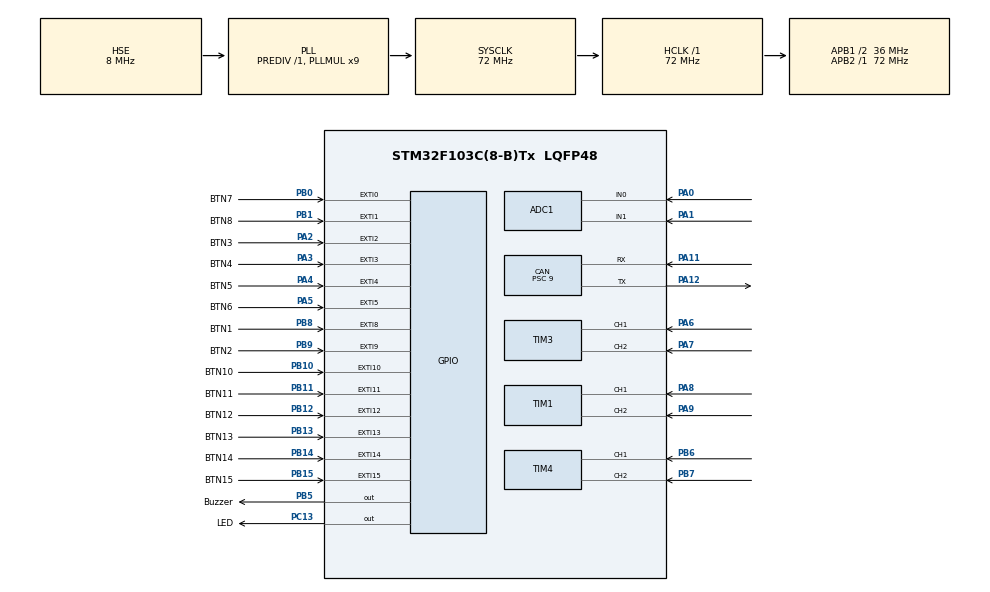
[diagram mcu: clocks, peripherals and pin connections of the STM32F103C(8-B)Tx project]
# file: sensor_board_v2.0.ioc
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ADC1.Channel-0\#ChannelRegularConversion=ADC_CHANNEL_0
ADC1.Channel-1\#ChannelRegularConversion=ADC_CHANNEL_1
ADC1.ContinuousConvMode=ENABLE
ADC1.NbrOfConversion=2
ADC1.NbrOfConversionFlag=1
ADC1.Rank-0\#ChannelRegularConversion=1
ADC1.Rank-1\#ChannelRegularConversion=2
ADC1.SamplingTime-0\#ChannelRegularConversion=ADC_SAMPLETIME_239CYCLES_5
ADC1.SamplingTime-1\#ChannelRegularConversion=ADC_SAMPLETIME_1CYCLE_5
ADC1.master=1
CAN.BS1=CAN_BS1_2TQ
CAN.CalculateBaudRate=1000000
CAN.CalculateTimeBit=1000
CAN.CalculateTimeQuantum=250.0
CAN.Prescaler=9
Dma.ADC1.0.Direction=DMA_PERIPH_TO_MEMORY
Dma.ADC1.0.Instance=DMA1_Channel1
Dma.ADC1.0.MemDataAlignment=DMA_MDATAALIGN_HALFWORD
Dma.ADC1.0.MemInc=DMA_MINC_ENABLE
Dma.ADC1.0.Mode=DMA_CIRCULAR
Dma.ADC1.0.PeriphDataAlignment=DMA_PDATAALIGN_HALFWORD
Dma.ADC1.0.PeriphInc=DMA_PINC_DISABLE
Dma.ADC1.0.Priority=DMA_PRIORITY_MEDIUM
Dma.Request0=ADC1
Mcu.Family=STM32F1
Mcu.Name=STM32F103C(8-B)Tx
Mcu.Package=LQFP48
NVIC.CAN1_RX1_IRQn=true\:0\:0\:false\:false\:true\:true\:true\:true
NVIC.DMA1_Channel1_IRQn=true\:0\:0\:false\:false\:true\:false\:true\:true
NVIC.EXTI0_IRQn=true\:0\:0\:false\:false\:true\:true\:true\:true
NVIC.EXTI15_10_IRQn=true\:0\:0\:false\:false\:true\:true\:true\:true
NVIC.EXTI1_IRQn=true\:0\:0\:false\:false\:true\:true\:true\:true
NVIC.EXTI2_IRQn=true\:0\:0\:false\:false\:true\:true\:true\:true
NVIC.EXTI3_IRQn=true\:0\:0\:false\:false\:true\:true\:true\:true
NVIC.EXTI4_IRQn=true\:0\:0\:false\:false\:true\:true\:true\:true
NVIC.EXTI9_5_IRQn=true\:0\:0\:false\:false\:true\:true\:true\:true
NVIC.PriorityGroup=NVIC_PRIORITYGROUP_4
PA0-WKUP.Signal=ADCx_IN0
PA1.Signal=ADCx_IN1
PA11.Mode=CAN_Activate
PA11.Signal=CAN_RX
PA12.Mode=CAN_Activate
PA12.Signal=CAN_TX
PA13.Mode=Serial_Wire
PA13.Signal=SYS_JTMS-SWDIO
PA14.Mode=Serial_Wire
PA14.Signal=SYS_JTCK-SWCLK
PA2.GPIO_Label=BTN3
PA2.GPIO_ModeDefaultEXTI=GPIO_MODE_IT_FALLING
PA2.Signal=GPXTI2
PA3.GPIO_Label=BTN4
PA3.GPIO_ModeDefaultEXTI=GPIO_MODE_IT_FALLING
PA3.GPIO_PuPd=GPIO_NOPULL
PA3.Signal=GPXTI3
PA4.GPIO_Label=BTN5
PA4.GPIO_ModeDefaultEXTI=GPIO_MODE_IT_RISING_FALLING
PA4.GPIO_PuPd=GPIO_NOPULL
PA4.Signal=GPXTI4
PA5.GPIO_Label=BTN6
PA5.GPIO_ModeDefaultEXTI=GPIO_MODE_IT_RISING_FALLING
PA5.GPIO_PuPd=GPIO_NOPULL
PA5.Signal=GPXTI5
PA6.Signal=S_TIM3_CH1
PA7.Signal=S_TIM3_CH2
PA8.Signal=S_TIM1_CH1
PA9.Signal=S_TIM1_CH2
PB0.GPIO_Label=BTN7
PB0.GPIO_ModeDefaultEXTI=GPIO_MODE_IT_RISING_FALLING
PB0.Signal=GPXTI0
PB1.GPIO_Label=BTN8
PB1.GPIO_ModeDefaultEXTI=GPIO_MODE_IT_RISING_FALLING
PB1.Signal=GPXTI1
PB10.GPIO_Label=BTN10
PB10.GPIO_ModeDefaultEXTI=GPIO_MODE_IT_RISING_FALLING
PB10.GPIO_PuPd=GPIO_NOPULL
PB10.Signal=GPXTI10
PB11.GPIO_Label=BTN11
PB11.GPIO_ModeDefaultEXTI=GPIO_MODE_IT_RISING_FALLING
PB11.GPIO_PuPd=GPIO_NOPULL
PB11.Signal=GPXTI11
PB12.GPIO_Label=BTN12
PB12.GPIO_ModeDefaultEXTI=GPIO_MODE_IT_RISING_FALLING
PB12.GPIO_PuPd=GPIO_NOPULL
PB12.Signal=GPXTI12
PB13.GPIO_Label=BTN13
PB13.GPIO_ModeDefaultEXTI=GPIO_MODE_IT_RISING_FALLING
PB13.GPIO_PuPd=GPIO_NOPULL
PB13.Signal=GPXTI13
PB14.GPIO_Label=BTN14
PB14.GPIO_ModeDefaultEXTI=GPIO_MODE_IT_RISING_FALLING
PB14.GPIO_PuPd=GPIO_NOPULL
PB14.Signal=GPXTI14
PB15.GPIO_Label=BTN15
PB15.GPIO_ModeDefaultEXTI=GPIO_MODE_IT_RISING_FALLING
PB15.GPIO_PuPd=GPIO_NOPULL
PB15.Signal=GPXTI15
PB5.GPIO_Label=Buzzer
PB5.Signal=GPIO_Output
PB6.Signal=S_TIM4_CH1
PB7.Signal=S_TIM4_CH2
PB8.GPIO_Label=BTN1
PB8.GPIO_ModeDefaultEXTI=GPIO_MODE_IT_FALLING
PB8.Signal=GPXTI8
PB9.GPIO_Label=BTN2
PB9.GPIO_ModeDefaultEXTI=GPIO_MODE_IT_FALLING
PB9.Signal=GPXTI9
PC13-TAMPER-RTC.GPIO_Label=LED
PC13-TAMPER-RTC.Signal=GPIO_Output
PD0-OSC_IN.Mode=HSE-External-Oscillator
PD0-OSC_IN.Signal=RCC_OSC_IN
PD1-OSC_OUT.Mode=HSE-External-Oscillator
PD1-OSC_OUT.Signal=RCC_OSC_OUT
ProjectManager.HeapSize=0x200
ProjectManager.StackSize=0x400
ProjectManager.TargetToolchain=STM32CubeIDE
RCC.ADCPresc=RCC_ADCPCLK2_DIV6
RCC.AHBFreq_Value=72000000
RCC.APB1CLKDivider=RCC_HCLK_DIV2
RCC.APB1Freq_Value=36000000
RCC.APB1TimFreq_Value=72000000
RCC.APB2Freq_Value=72000000
RCC.APB2TimFreq_Value=72000000
RCC.HCLKFreq_Value=72000000
RCC.PLLMUL=RCC_PLL_MUL9
RCC.PLLSourceVirtual=RCC_PLLSOURCE_HSE
RCC.SYSCLKFreq_VALUE=72000000
RCC.SYSCLKSource=RCC_SYSCLKSOURCE_PLLCLK
RCC.USBFreq_Value=72000000
SH.ADCx_IN0.0=ADC1_IN0,IN0
SH.ADCx_IN1.0=ADC1_IN1,IN1
SH.S_TIM1_CH1.0=TIM1_CH1,Encoder_Interface
SH.S_TIM1_CH2.0=TIM1_CH2,Encoder_Interface
SH.S_TIM3_CH1.0=TIM3_CH1,Encoder_Interface
SH.S_TIM3_CH2.0=TIM3_CH2,Encoder_Interface
SH.S_TIM4_CH1.0=TIM4_CH1,Encoder_Interface
SH.S_TIM4_CH2.0=TIM4_CH2,Encoder_Interface
TIM1.EncoderMode=TIM_ENCODERMODE_TI12
TIM1.IC1Filter=15
TIM1.IC2Filter=15
TIM3.EncoderMode=TIM_ENCODERMODE_TI12
TIM3.IC1Filter=15
TIM3.IC2Filter=15
TIM4.EncoderMode=TIM_ENCODERMODE_TI12
TIM4.IC1Filter=15
TIM4.IC2Filter=15
board=custom

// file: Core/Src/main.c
/* USER CODE BEGIN Header */
/**
  ******************************************************************************
  * @file           : main.c
  * @brief          : Main program body
  ******************************************************************************
  * @attention
  *
  * Copyright (c) 2023 STMicroelectronics.
  * All rights reserved.
  *
  * This software is licensed under terms that can be found in the LICENSE file
  * in the root directory of this software component.
  * If no LICENSE file comes with this software, it is provided AS-IS.
  *
  ******************************************************************************
  */
/* USER CODE END Header */
#include "main.h"
#include "adc.h"
#include "can.h"
#include "dma.h"
#include "tim.h"
#include "gpio.h"

/* USER CODE BEGIN PM */
#define true 1
#define false 0

uint16_t Enc_count[3];
uint8_t BTN;
uint8_t BTN2;
uint8_t old_BTN;
uint8_t old_BTN2;
uint8_t flag = 0;
uint8_t flag_exti = 0;
uint8_t cntt;

uint16_t AD_RES[2];
uint16_t pub_adc = 0;

uint16_t time_read;

uint8_t noise;

uint8_t buzzer;
/* USER CODE END PM */

/* USER CODE BEGIN PV */
CAN_RxHeaderTypeDef RxHeader;
uint8_t RxData[8];
CAN_TxHeaderTypeDef TxHeader;
CAN_TxHeaderTypeDef TxHeader2;
uint8_t TxData[8];
uint8_t TxData2[2];
uint32_t TxMailbox;

float map(float Input, float Min_Input, float Max_Input, float Min_Output, float Max_Output)
{

	return (float)((Input - Min_Input) * (Max_Output - Min_Output) / (Max_Input - Min_Input) + Min_Output);
}

void HAL_CAN_RxFifo1MsgPendingCallback(CAN_HandleTypeDef *hcan)
{
	HAL_CAN_GetRxMessage(hcan, CAN_RX_FIFO1, &RxHeader, RxData);
	cntt++;
	while (cntt - 100 > 0)
	{
		HAL_GPIO_TogglePin(GPIOC, GPIO_PIN_13);
		cntt = 0;
	}
	if(RxHeader.StdId == 0x111){
		flag = 1;
	}

}
/* USER CODE END PV */

void SystemClock_Config(void);

int main(void)
{

  /* MCU Configuration--------------------------------------------------------*/

  /* Reset of all peripherals, Initializes the Flash interface and the Systick. */
  HAL_Init();

  /* Configure the system clock */
  SystemClock_Config();

  /* Initialize all configured peripherals */
  MX_GPIO_Init();
  MX_DMA_Init();
  MX_ADC1_Init();
  MX_CAN_Init();
  MX_TIM1_Init();
  MX_TIM3_Init();
  MX_TIM4_Init();
  /* USER CODE BEGIN 2 */
  HAL_TIM_Encoder_Start(&htim1, TIM_CHANNEL_ALL);
  HAL_TIM_Encoder_Start(&htim3, TIM_CHANNEL_ALL);
  HAL_TIM_Encoder_Start(&htim4, TIM_CHANNEL_ALL);

  HAL_ADCEx_Calibration_Start(&hadc1);
  	HAL_ADC_Start_DMA(&hadc1, &AD_RES, 2);

  	HAL_CAN_Start(&hcan);
	HAL_CAN_ActivateNotification(&hcan, CAN_IT_RX_FIFO1_MSG_PENDING);

	TxHeader.DLC = 8; // data length
	TxHeader.IDE = CAN_ID_STD;
	TxHeader.RTR = CAN_RTR_DATA;
	TxHeader.StdId = 0x333; // ID

	TxHeader2.DLC = 2; // data length
	TxHeader2.IDE = CAN_ID_STD;
	TxHeader2.RTR = CAN_RTR_DATA;
	TxHeader2.StdId = 0x444; // ID
  /* USER CODE END 2 */

  /* Infinite loop */
  while (1)
  {

    /* USER CODE BEGIN 3 */

	  	pub_adc = AD_RES[1];

	  	Enc_count[0] = TIM3->CNT;
	  	Enc_count[1] = TIM4->CNT;
	  	Enc_count[2] = TIM1->CNT;

		TxData[0] = ((Enc_count[0] & 0xFF00) >> 8);
		TxData[1] = (Enc_count[0] & 0x00FF);
		TxData[2] = ((Enc_count[1] & 0xFF00) >> 8);
		TxData[3] = (Enc_count[1] & 0x00FF);
		TxData[4] = ((Enc_count[2] & 0xFF00) >> 8);
		TxData[5] = (Enc_count[2] & 0x00FF);
		TxData[6] = ((pub_adc & 0xFF00) >> 8);
		TxData[7] = (pub_adc & 0x00FF);

		if(flag == 1){
			HAL_CAN_AddTxMessage(&hcan, &TxHeader, TxData, &TxMailbox);
			flag = 0;
		}

		if (flag_exti == 1 && (BTN != old_BTN || BTN2 != old_BTN2)){  ///  && HAL_GetTick() - time_read > 200
			HAL_CAN_AddTxMessage(&hcan, &TxHeader2, TxData2, &TxMailbox);
			flag_exti = 0;

			old_BTN = BTN;
			old_BTN2 = BTN2;
		}

		if(HAL_GetTick() - time_read > 100 && buzzer == 1){
			buzzer = 0;
			time_read = HAL_GetTick();
		}

		if (buzzer == 1){
			HAL_GPIO_WritePin(Buzzer_GPIO_Port, Buzzer_Pin, 1);
		}
		else {
			HAL_GPIO_WritePin(Buzzer_GPIO_Port, Buzzer_Pin, 0);
		}

  }
  /* USER CODE END 3 */
}

void SystemClock_Config(void)
{
  RCC_OscInitTypeDef RCC_OscInitStruct = {0};
  RCC_ClkInitTypeDef RCC_ClkInitStruct = {0};
  RCC_PeriphCLKInitTypeDef PeriphClkInit = {0};

  /** Initializes the RCC Oscillators according to the specified parameters
  * in the RCC_OscInitTypeDef structure.
  */
  RCC_OscInitStruct.OscillatorType = RCC_OSCILLATORTYPE_HSE;
  RCC_OscInitStruct.HSEState = RCC_HSE_ON;
  RCC_OscInitStruct.HSEPredivValue = RCC_HSE_PREDIV_DIV1;
  RCC_OscInitStruct.HSIState = RCC_HSI_ON;
  RCC_OscInitStruct.PLL.PLLState = RCC_PLL_ON;
  RCC_OscInitStruct.PLL.PLLSource = RCC_PLLSOURCE_HSE;
  RCC_OscInitStruct.PLL.PLLMUL = RCC_PLL_MUL9;
  if (HAL_RCC_OscConfig(&RCC_OscInitStruct) != HAL_OK)
  {
    Error_Handler();
  }

  /** Initializes the CPU, AHB and APB buses clocks
  */
  RCC_ClkInitStruct.ClockType = RCC_CLOCKTYPE_HCLK|RCC_CLOCKTYPE_SYSCLK
                              |RCC_CLOCKTYPE_PCLK1|RCC_CLOCKTYPE_PCLK2;
  RCC_ClkInitStruct.SYSCLKSource = RCC_SYSCLKSOURCE_PLLCLK;
  RCC_ClkInitStruct.AHBCLKDivider = RCC_SYSCLK_DIV1;
  RCC_ClkInitStruct.APB1CLKDivider = RCC_HCLK_DIV2;
  RCC_ClkInitStruct.APB2CLKDivider = RCC_HCLK_DIV1;

  if (HAL_RCC_ClockConfig(&RCC_ClkInitStruct, FLASH_LATENCY_2) != HAL_OK)
  {
    Error_Handler();
  }
  PeriphClkInit.PeriphClockSelection = RCC_PERIPHCLK_ADC;
  PeriphClkInit.AdcClockSelection = RCC_ADCPCLK2_DIV6;
  if (HAL_RCCEx_PeriphCLKConfig(&PeriphClkInit) != HAL_OK)
  {
    Error_Handler();
  }
}

/* USER CODE BEGIN 4 */
void HAL_GPIO_EXTI_Callback(uint16_t GPIO_Pin)
{
	// not working
	noise+=1;
	buzzer = 1;
	time_read = HAL_GetTick();
//	if(GPIO_Pin == BTN1_Pin){
//
//			uint8_t bit = HAL_GPIO_ReadPin(BTN1_GPIO_Port, BTN1_Pin);
//			if(bit == true){
//				BTN |= 1 <<0;//set bit 0 to high(1)
//			}
//			else BTN &= ~(1 << 0);//clear bit 0 to low(0)
//	}
	if(GPIO_Pin == BTN1_Pin  || BTN2_Pin){
			uint8_t bit1 =! HAL_GPIO_ReadPin(BTN1_GPIO_Port, BTN1_Pin);
			uint8_t bit2 =! HAL_GPIO_ReadPin(BTN2_GPIO_Port, BTN2_Pin);
			if(bit1 == true && bit2 != true){
				BTN |= 1 <<0;	//set bit 0 to high(1)
			}
			else if (bit1 != true && bit2 == true){
				BTN &= ~(1 << 0);	//clear bit 0 to low(0)
			}
	}
	if(GPIO_Pin == BTN3_Pin  || BTN5_Pin){
		if(GPIO_Pin == BTN3_Pin){
			BTN &= ~(1 << 1);
			BTN &= ~(1 << 2);
		}
		else if(GPIO_Pin == BTN5_Pin){
			uint8_t bit3 = HAL_GPIO_ReadPin(BTN5_GPIO_Port, BTN5_Pin);
			if(bit3 == true){
				BTN |= 1 <<1;	//set bit 0 to high(1)
				BTN &= ~(1 << 2);
			}
			else if (bit3 != true){
				BTN &= ~(1 << 1);	//set bit 0 to high(1)
				BTN |= 1 <<2;	//set bit 0 to high(1)
			}
		}

	}
	if(GPIO_Pin == BTN4_Pin  || BTN6_Pin){
		if(GPIO_Pin == BTN4_Pin){
			BTN &= ~(1 << 3);
			BTN &= ~(1 << 4);
		}
		else if(GPIO_Pin == BTN6_Pin) {
			uint8_t bit4 = HAL_GPIO_ReadPin(BTN6_GPIO_Port, BTN6_Pin);
			if(bit4 == true){
				BTN |= 1 <<3;	//set bit 0 to high(1)
				BTN &= ~(1 << 4);
			}
			else if (bit4 != true){
				BTN &= ~(1 << 3);
				BTN |= 1 <<4;	//set bit 0 to high(1)
			}
		}
	}
	TxData2[0] = BTN;

	flag_exti = true;

}
/* USER CODE END 4 */

void Error_Handler(void)
{
  __disable_irq();
  while (1)
  {
  }
}
